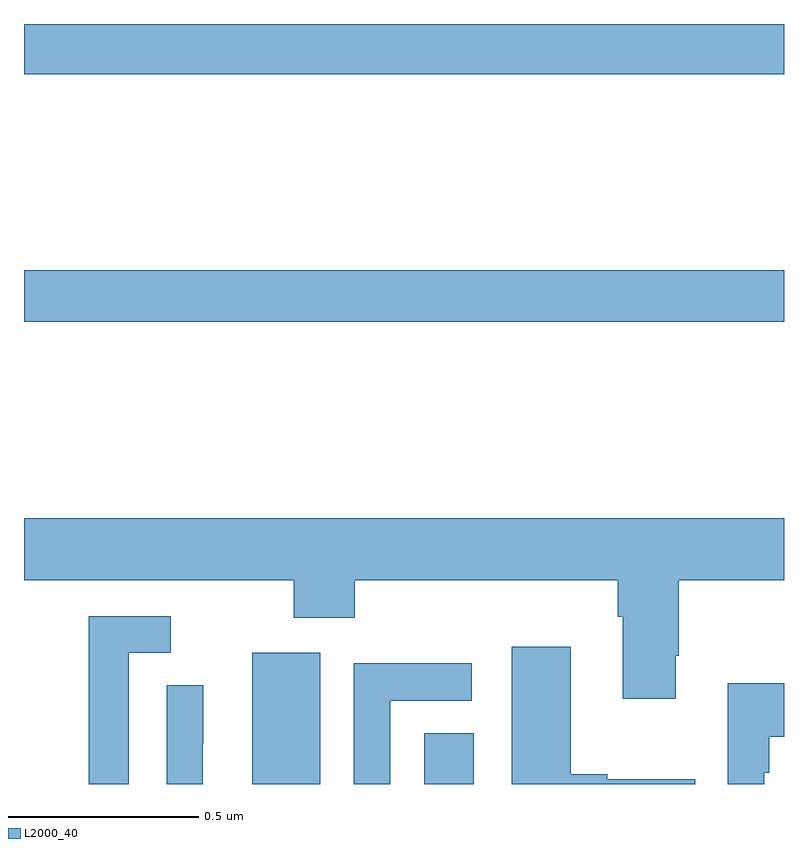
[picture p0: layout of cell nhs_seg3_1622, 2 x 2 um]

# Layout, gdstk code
import gdstk
lib = gdstk.Library(unit=1e-6, precision=1e-09)
def R(c, l, rs):  # rectangles x0, y0, x1, y1
    for r in rs: c.add(gdstk.rectangle(r[:2], r[2:], *l))
def P(c, l, *ps):  # polygons
    for p in ps: c.add(gdstk.Polygon(p, *l))
L2000_40 = (2000, 40)

nhs_seg3_1622 = lib.new_cell('nhs_seg3_1622')
R(nhs_seg3_1622, L2000_40, [(131.6,680.4,131.779,680.746), (132.053,680.4,132.184,680.534), (131,681.616,133,681.752), (131,682.268,133,682.4)])
P(nhs_seg3_1622, L2000_40, [(132.715,680.737),(132.723,680.737),(132.723,680.936),(133,680.936),(133,681.1),(131,681.1),(131,680.936),(131.71,680.936),(131.71,680.837),(131.87,680.837),(131.87,680.936),(132.563,680.936),(132.563,680.84),(132.575,680.84),(132.575,680.625),(132.715,680.625)],
  [(131.275,680.745),(131.386,680.745),(131.386,680.841),(131.171,680.841),(131.171,680.4),(131.275,680.4)],
  [(132.766,680.413),(132.535,680.413),(132.535,680.426),(132.439,680.426),(132.439,680.761),(132.284,680.761),(132.284,680.4),(132.766,680.4)],
  [(131.964,680.619),(132.178,680.619),(132.178,680.718),(131.868,680.718),(131.868,680.4),(131.964,680.4)],
  [(132.948,680.429),(132.961,680.429),(132.961,680.525),(133,680.525),(133,680.665),(132.852,680.665),(132.852,680.4),(132.948,680.4)],
  [(131.471,680.506),(131.472,680.506),(131.472,680.66),(131.376,680.66),(131.376,680.4),(131.471,680.4)])

lib.write_gds('nhs_seg3_1622.gds')
